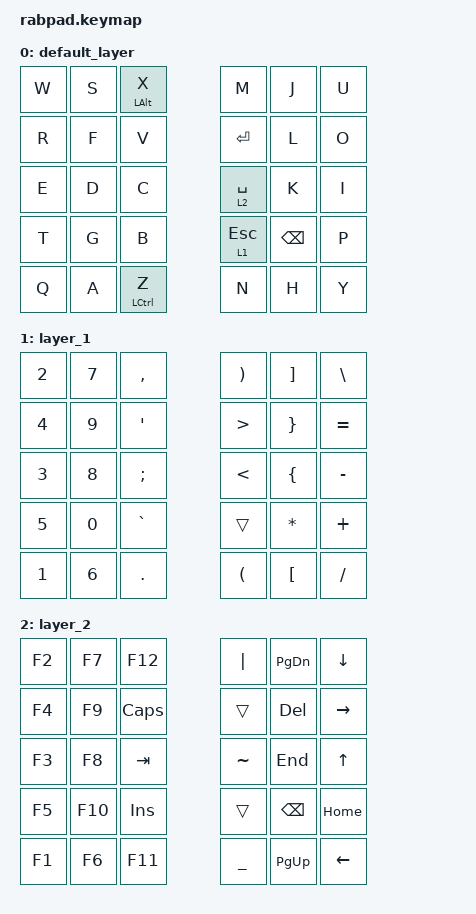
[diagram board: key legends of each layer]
/*
 * Copyright (c) 2025 The ZMK Contributors
 *
 * SPDX-License-Identifier: MIT
 */

#include <behaviors.dtsi>
#include <dt-bindings/zmk/keys.h>
#include <dt-bindings/zmk/bt.h>
#include <dt-bindings/zmk/pointing.h> // Necesario para el mouse

/ {
    keymap {
        compatible = "zmk,keymap";

        default_layer {
            bindings = <
                // CORRECTED ROW MAPPING + RIGHT HAND COL SWAP (3 <-> 5)
                // Row 0 (Phys 2): W, S, X | M, J, U
                // Row 1 (Phys 4): R, F, V | RET, L, O
                // Row 2 (Phys 3): E, D, C | SPACE, K, I
                // Row 3 (Phys 5): T, G, B | ESC, BSPC, P
                // Row 4 (Phys 1): Q, A, Z | N, H, Y

                &kp W &kp S &mt LALT X   &kp M &kp J &kp U
                &kp R &kp F &kp V   &kp RET &kp L &kp O
                &kp E &kp D &kp C   &lt 2 SPACE &kp K &kp I
                &kp T &kp G &kp B   &lt 1 ESC &kp BSPC &kp P
                &kp Q &kp A &mt LCTRL Z   &kp N &kp H &kp Y
            >;
        };

        layer_1 {
            bindings = <
                // LAYER 1: NUMBERS & SYMBOLS (Permuted + Col Swap)
                
                &kp N2    &kp N7    &kp COMMA   &kp RPAR  &kp RBKT  &kp BSLH
                &kp N4    &kp N9    &kp SQT     &kp GT    &kp RBRC  &kp EQUAL
                &kp N3    &kp N8    &kp SEMI    &kp LT    &kp LBRC  &kp MINUS
                &kp N5    &kp N0    &kp GRAVE   &trans    &kp STAR  &kp PLUS
                &kp N1    &kp N6    &kp DOT     &kp LPAR  &kp LBKT  &kp FSLH
            >;
        };

        layer_2 {
            bindings = <
                // LAYER 2: NAVIGATION & F-KEYS (Permuted + Col Swap)

                &kp F2    &kp F7    &kp F12   &kp PIPE  &kp PG_DN &kp DOWN
                &kp F4    &kp F9    &kp CAPS  &trans    &kp DEL   &kp RIGHT
                &kp F3    &kp F8    &kp TAB   &kp TILDE &kp END   &kp UP
                &kp F5    &kp F10   &kp INS   &trans    &kp BSPC  &kp HOME
                &kp F1    &kp F6    &kp F11   &kp UNDER &kp PG_UP &kp LEFT
            >;
        };
    };
};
